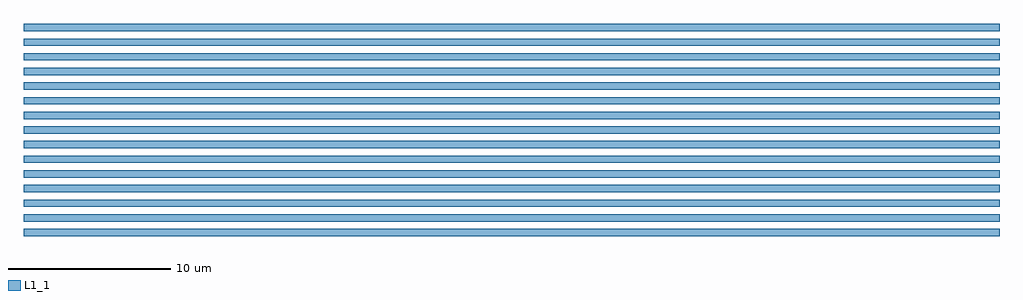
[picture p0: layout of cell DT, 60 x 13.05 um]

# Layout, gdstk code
import gdstk
lib = gdstk.Library(unit=1e-6, precision=1e-09)
def P(c, l, *ps):  # polygons
    for p in ps: c.add(gdstk.Polygon(p, *l))
L1_1 = (1, 1)

c_dt = lib.new_cell('DT')
P(c_dt, L1_1, [(-30,-0.225),(-30,0.225),(30,0.225),(30,-0.225),(-30,-0.225)],
  [(-30,0.675),(-30,1.125),(30,1.125),(30,0.675),(-30,0.675)],
  [(-30,1.575),(-30,2.025),(30,2.025),(30,1.575),(-30,1.575)],
  [(-30,2.475),(-30,2.925),(30,2.925),(30,2.475),(-30,2.475)],
  [(-30,3.375),(-30,3.825),(30,3.825),(30,3.375),(-30,3.375)],
  [(-30,4.275),(-30,4.725),(30,4.725),(30,4.275),(-30,4.275)],
  [(-30,5.175),(-30,5.625),(30,5.625),(30,5.175),(-30,5.175)],
  [(-30,6.075),(-30,6.525),(30,6.525),(30,6.075),(-30,6.075)],
  [(-30,6.975),(-30,7.425),(30,7.425),(30,6.975),(-30,6.975)],
  [(-30,7.875),(-30,8.325),(30,8.325),(30,7.875),(-30,7.875)],
  [(-30,8.775),(-30,9.225),(30,9.225),(30,8.775),(-30,8.775)],
  [(-30,9.675),(-30,10.125),(30,10.125),(30,9.675),(-30,9.675)],
  [(-30,10.575),(-30,11.025),(30,11.025),(30,10.575),(-30,10.575)],
  [(-30,11.475),(-30,11.925),(30,11.925),(30,11.475),(-30,11.475)],
  [(-30,12.375),(-30,12.825),(30,12.825),(30,12.375),(-30,12.375)])

lib.write_gds('DT.gds')
